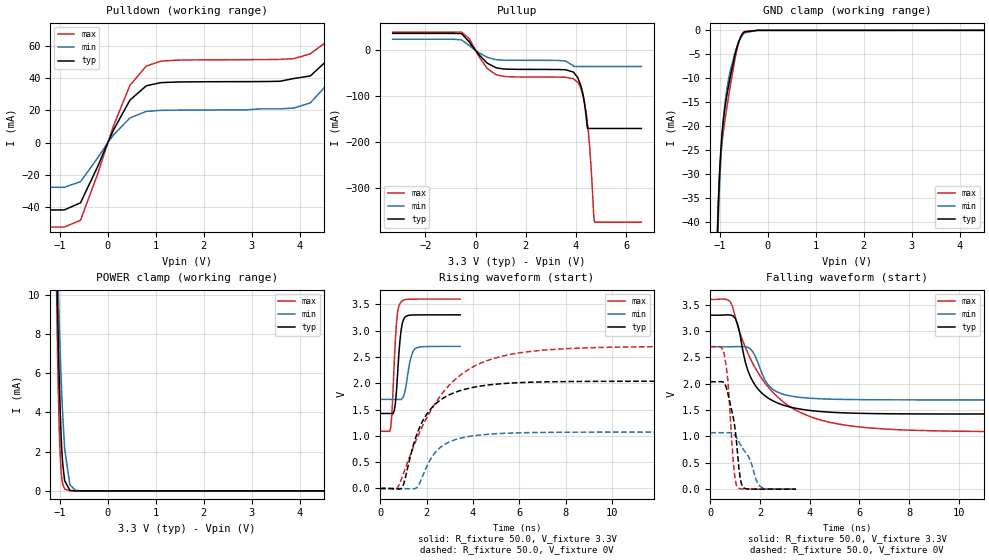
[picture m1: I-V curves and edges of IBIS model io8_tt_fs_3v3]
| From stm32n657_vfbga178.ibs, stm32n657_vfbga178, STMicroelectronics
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[Model]   io8_tt_fs_3v3
Model_type I/O
Polarity   Non-Inverting
Enable   Active-Low
| CAP_THRESHOLD on pad IOTT is "UDTCAPC" :
| Rising=30.0% of vddiov33m   Falling=70.0% of vddiov33m
| C_comp min and max val. don't necessarily correlate with the min and max pvt
| but are the smallest and greatest pad capacitance found.
| var   typ   min   max
C_comp   1.01876pF  1.01074pF  1.02142pF
|C_comp_pullup   495.66000fF  479.36000fF  510.70500fF
|C_comp_pulldown   523.10000fF  531.38429fF  510.71500fF
Vinl = 1.35V
Vinh = 1.8V
Vmeas = 1.65V   | Reference voltage for timing measurements
Cref  = 50.0pF   | Timing specification test load capacitance value
Rref  = 1.0MOhm   | Timing specification test load resistance value
Vref  = 1.815V   | Timing specification test load voltage
[Model Spec]
| TIME_THRESHOLD on pin ZIV08M is "CMOS" :
| Rising=50.0% of vddv08m   Falling=50.0% of vddv08m
Vinl 1.08570V 868.70000mV 1.21270V
Vinh 1.55630V 1.26230V 1.70930V
| variable   typ   min   max
[Temperature Range] 25.0 125.0 -40.0
| variable   typ   min   max
[Voltage Range] 3.3V 2.7V 3.6V
| variable   typ   min   max
[POWER Clamp Reference] 3.3V 2.7V 3.6V
| variable   typ   min   max
[GND Clamp Reference] 0V 0V 0V
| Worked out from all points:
|   slope of the pulldown table from 0 to 0.495 V, typ, clamps not added: 18.2 ohm
|   slope of the pullup table from 0 to 0.495 V, typ, clamps not added: 17.3 ohm
|   GND clamp passes 1 mA (typ) near -0.55 V on its own axis
|   POWER clamp passes 1 mA (typ) near -0.92 V on its own axis
|   rising waveform, R_fixture 50.0, V_fixture 3.3V: 20-80 % time 190ps typ, 243ps min, 172ps max; typ from 1.43 V to 3.3 V
|   falling waveform, R_fixture 50.0, V_fixture 3.3V: 20-80 % time 929ps typ, 690ps min, 2.03ns max; typ from 3.3 V to 1.43 V
|   rising waveform, R_fixture 50.0, V_fixture 0V: 20-80 % time 1.26ns typ, 1.05ns min, 2.27ns max; typ from 0 V to 2.04 V
|   falling waveform, R_fixture 50.0, V_fixture 0V: 20-80 % time 355ps typ, 624ps min, 240ps max; typ from 2.04 V to 0 V
[POWER Clamp]
-3.3V     1.353A     318.4mA    2.015A
-1.07V    12.07mA    13.62mA    10.38mA
-1.06V    10.79mA    12.68mA    8.745mA
-1.05V    9.571mA    11.76mA    7.253mA
-1.03V    7.341mA    9.999mA    4.748mA
-1V       4.588mA    7.595mA    2.215mA
-980mV    3.183mA    6.171mA    1.238mA
-950mV    1.704mA    4.337mA    481.8uA
-900mV    515.5uA    2.141mA    93.34uA
-790mV    29.45uA    301.7uA    4.884uA
-670mV    1.871uA    28.97uA    2.19uA
6.6V      0A         0A         0A
[GND Clamp]
-3.3V     -3.772A    -3.743A    -3.788A
-1.05V    -42.34mA   -45.44mA   -41.2mA
-1.04V    -38.9mA    -42mA      -37.88mA
-1.03V    -35.84mA   -38.88mA   -35.06mA
-1V       -28.57mA   -31.07mA   -28.88mA
-970mV    -23.48mA   -25.09mA   -24.97mA
-920mV    -18.07mA   -17.99mA   -20.63mA
-860mV    -13.91mA   -12.68mA   -16.46mA
-780mV    -9.536mA   -8.318mA   -11.38mA
-650mV    -3.744mA   -3.567mA   -4.327mA
-490mV    -324.2uA   -555.2uA   -259.7uA
6.6V      214nA      4.276uA    223.3nA
| variable   typ   min   max
[Pullup Reference] 3.3V 2.7V 3.6V
| variable   typ   min   max
[Pulldown Reference] 0V 0V 0V
[Pullup]
-3.3V     37.13mA    24.46mA    39.98mA
-560mV    36.73mA    22.97mA    39.98mA
800mV     -37.34mA   -19.93mA   -52.27mA
3.53V     -41.95mA   -22.74mA   -58.3mA
3.91V     -47.9mA    -35.06mA   -62.17mA
4.2V      -78.22mA   -35.06mA   -84.3mA
4.39V     -138.2mA   -35.06mA   -130mA
4.45V     -167.6mA   -35.06mA   -155.6mA
4.54V     -169.9mA   -35.06mA   -208.7mA
4.7V      -169.9mA   -35.06mA   -353.6mA
4.74V     -169.9mA   -35.06mA   -374mA
6.6V      -169.9mA   -35.06mA   -374mA
[Pulldown]
-3.3V     -41.68mA   -27.67mA   -52.26mA
-910mV    -41.66mA   -27.66mA   -52.26mA
-570mV    -37.25mA   -24.18mA   -48.03mA
120mV     7.91mA     4.86mA     10.53mA
460mV     26.3mA     15.25mA    35.41mA
800mV     35.13mA    19.32mA    47.35mA
1.43V     37.49mA    20.09mA    50.99mA
3.88V     39.68mA    21.4mA     52mA
4.22V     41.24mA    24.57mA    54.93mA
4.56V     50.57mA    35.57mA    62.45mA
4.9V      81.48mA    69.85mA    90.32mA
6.6V      932.4mA    945.7mA    856.3mA
[Ramp]
dV/dt_r 1.22272V/1.25681ns 642.93747mV/1.04416ns 1.62249V/2.27334ns
dV/dt_f 1.12484V/926.81681ps 604.28703mV/685.318ps 1.50794V/2.02571ns
R_load = 50.0
| Removed startup time: 0s 0s 0s  .
| Removed end time: 3.45ns.
[Rising Waveform]
R_fixture   = 50.0
V_fixture   = 3.3V
V_fixture_min = 2.7V
V_fixture_max = 3.6V
0s        1.425V     1.693V     1.087V
450ps     1.425V     1.693V     1.159V
500ps     1.424V     1.693V     1.402V
600ps     1.473V     1.693V     2.375V
700ps     1.86V      1.693V     3.145V
850ps     2.813V     1.688V     3.516V
1.05ns    3.247V     1.815V     3.587V
1.3ns     3.294V     2.45V      3.597V
1.5ns     3.298V     2.655V     3.598V
3.45ns    3.3V       2.7V       3.6V
| Removed startup time: 0s 0s 0s  .
| Removed end time: 24.9ns.
[Falling Waveform]
R_fixture   = 50.0
V_fixture   = 3.3V
V_fixture_min = 2.7V
V_fixture_max = 3.6V
0s        3.3V       2.7V       3.6V
700ps     3.305V     2.7V       3.594V
1ns       3.245V     2.704V     3.275V
1.5ns     2.266V     2.691V     2.592V
1.8ns     1.975V     2.529V     2.306V
2.2ns     1.771V     2.072V     2.014V
3ns       1.585V     1.792V     1.632V
4.9ns     1.458V     1.707V     1.26V
9.1ns     1.426V     1.693V     1.106V
24.9ns    1.425V     1.693V     1.087V
| Removed startup time: 0s 0s 0s  .
| Removed end time: 24.9ns.
[Rising Waveform]
R_fixture   = 50.0
V_fixture   = 0V
V_fixture_min = 0V
V_fixture_max = 0V
0s        357.9nV    2.11uV     435.7nV
700ps     -8.376mV   -125.3uV   -7.467mV
900ps     -7.517mV   -1.778mV   163.5mV
1.5ns     927.9mV    -4.415mV   864.9mV
1.7ns     1.164V     100.7mV    1.069V
2.4ns     1.613V     698.4mV    1.637V
3.7ns     1.89V      978mV      2.231V
5.3ns     1.993V     1.046V     2.518V
10ns      2.036V     1.071V     2.684V
24.9ns    2.038V     1.072V     2.704V
| Removed startup time: 0s 0s 0s  .
| Removed end time: 3.45ns.
[Falling Waveform]
R_fixture   = 50.0
V_fixture   = 0V
V_fixture_min = 0V
V_fixture_max = 0V
0s        2.038V     1.072V     2.704V
400ps     2.038V     1.072V     2.702V
550ps     2.022V     1.072V     2.583V
700ps     1.827V     1.072V     2.095V
950ps     1.301V     1.042V     390.9mV
1.1ns     663.9mV    939.6mV    30.43mV
1.2ns     217mV      853.2mV    8.358mV
1.35ns    24.42mV    741.7mV    3.111mV
2ns       865.4uV    56.77mV    857uV
3.45ns    207.1uV    263.7uV    235.3uV
